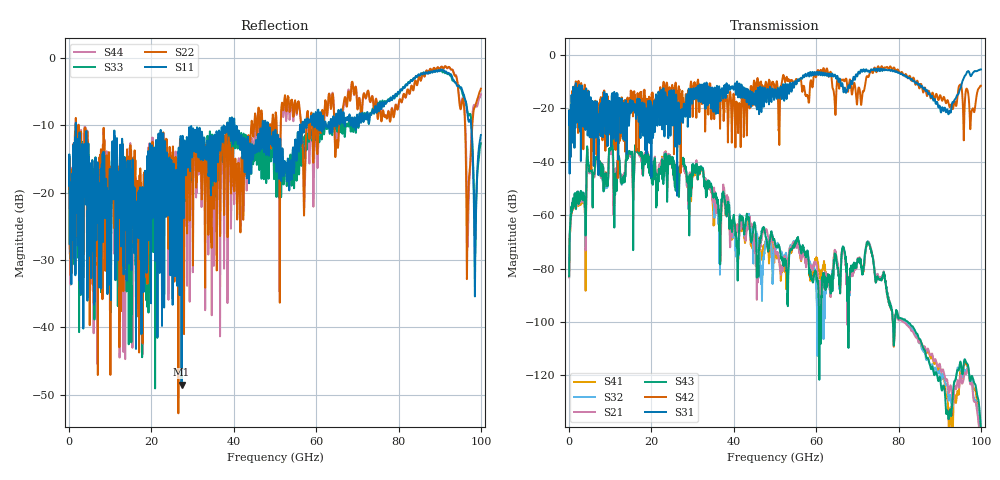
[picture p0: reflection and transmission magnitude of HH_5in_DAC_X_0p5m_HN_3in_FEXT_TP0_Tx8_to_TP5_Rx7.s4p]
# GHz S RI R 45
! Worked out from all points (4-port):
!   4000 points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, 25 MHz to 100 GHz, reference 45 ohm
!   strongest paths, dB at 25 MHz, 25.02 GHz, 50.02 GHz, 75.03 GHz, 100 GHz:
!     S31: -26.1, -14.9, -12.9, -5.7, -5.4
!     S42: -26.1, -11.5, -14.7, -4.3, -11.5
!     S43: -82.9, -41.0, -70.9, -83.5, -139.9
!     S21: -83.3, -40.9, -73.2, -82.6, -147.5
!     S32: -83.1, -40.8, -73.5, -82.7, -150.8
!     S41: -83.0, -41.1, -75.2, -83.4, -152.5
!   lowest |S11| = -48.5 dB at 27.32 GHz (marker M1), VSWR 1.01, Z = 45.1 - j0.324 ohm
!   |S11| at or under -10 dB: 1.663 GHz to 38.4 GHz (36.73 GHz wide, 183 % of centre); 40.19 GHz to 46.98 GHz (6.794 GHz wide, 15.6 % of centre); 48.28 GHz to 56.1 GHz (7.82 GHz wide, 15 % of centre)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
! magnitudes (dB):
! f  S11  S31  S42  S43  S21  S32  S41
! 25 MHz  -18.9  -26.1  -26.1  -82.9  -83.3  -83.1  -83.0
! 4.775 GHz  -17.4  -14.3  -20.3  -41.6  -42.3  -42.1  -42.1
! 27.32 GHz  -48.5  -22.1  -14.6  -40.1  -40.9  -40.7  -40.4
! 46.83 GHz  -13.0  -15.0  -11.8  -66.2  -67.6  -87.1  -76.2
! 91.97 GHz  -2.3  -21.3  -17.0  -134.4  -123.7  -125.7  -130.1
! 96.9 GHz  -9.0  -6.0  -14.2  -116.5  -117.4  -116.7  -117.3
! 100 GHz  -11.4  -5.4  -11.5  -139.9  -147.5  -150.8  -152.5
